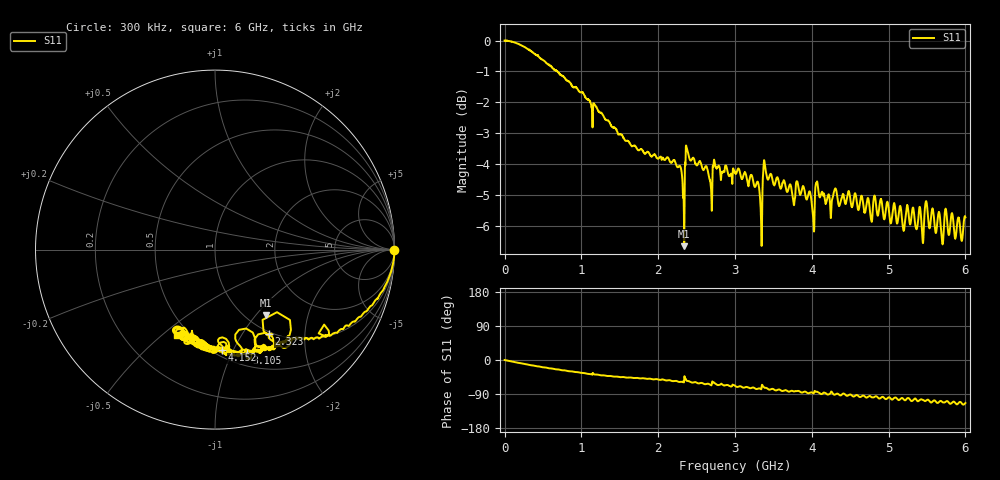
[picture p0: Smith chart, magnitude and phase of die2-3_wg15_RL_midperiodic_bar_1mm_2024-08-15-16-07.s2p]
!Keysight Technologies,P9374A,MY57304198,A.17.20.09
!Date: Thursday, August 15, 2024 16:08:03
!Correction: S11(C  1-Port  )
!S21(C  1-Port  )
!S12(Off)
!S22(Off)
!S2P File: Measurements: S11, S21, S12, S22:
# Hz S  dB  R 50
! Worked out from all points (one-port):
!   6000 points, 300 kHz to 6 GHz, reference 50 ohm
!   lowest |S11| = -6.7 dB at 2.339 GHz (marker M1), VSWR 2.73, Z = 60.8 - j56.8 ohm
!   |S11| at or under -10 dB: nowhere
!   S11 on the Smith chart (normalised r, x): 300 kHz: open; 2.323 GHz: 0.97, -1.32; 3.105 GHz: 0.63, -1.14; 4.152 GHz: 0.55, -0.90; 6 GHz: 0.44, -0.56
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300000  -0.00 -0.0  -200.00 45.0  -200.00 45.0  -200.00 45.0
4.963579e8  -0.63 -19.2  -200.00 45.0  -200.00 45.0  -200.00 45.0
1.000417e9  -1.67 -34.0  -200.00 45.0  -200.00 45.0  -200.00 45.0
1.498475e9  -3.04 -45.0  -200.00 45.0  -200.00 45.0  -200.00 45.0
2.000533e9  -3.83 -51.6  -200.00 45.0  -200.00 45.0  -200.00 45.0
2.278566e9  -4.06 -57.9  -200.00 45.0  -200.00 45.0  -200.00 45.0
2.322571e9  -5.09 -57.5  -200.00 45.0  -200.00 45.0  -200.00 45.0
2.338573e9  -6.66 -52.1  -200.00 45.0  -200.00 45.0  -200.00 45.0
2.371577e9  -3.47 -54.8  -200.00 45.0  -200.00 45.0  -200.00 45.0
2.441585e9  -3.83 -59.6  -200.00 45.0  -200.00 45.0  -200.00 45.0
2.691614e9  -4.96 -66.9  -200.00 45.0  -200.00 45.0  -200.00 45.0
2.730619e9  -3.88 -60.4  -200.00 45.0  -200.00 45.0  -200.00 45.0
3.00065e9  -4.28 -68.1  -200.00 45.0  -200.00 45.0  -200.00 45.0
3.104662e9  -4.42 -72.8  -200.00 45.0  -200.00 45.0  -200.00 45.0
3.315687e9  -4.82 -74.8  -200.00 45.0  -200.00 45.0  -200.00 45.0
3.34069e9  -5.98 -77.2  -200.00 45.0  -200.00 45.0  -200.00 45.0
3.379694e9  -3.88 -72.7  -200.00 45.0  -200.00 45.0  -200.00 45.0
3.528712e9  -4.57 -80.1  -200.00 45.0  -200.00 45.0  -200.00 45.0
4.000767e9  -5.30 -85.5  -200.00 45.0  -200.00 45.0  -200.00 45.0
4.151784e9  -5.00 -86.1  -200.00 45.0  -200.00 45.0  -200.00 45.0
5.000883e9  -5.44 -98.6  -200.00 45.0  -200.00 45.0  -200.00 45.0
6e9  -5.73 -113.5  -200.00 45.0  -200.00 45.0  -200.00 45.0
